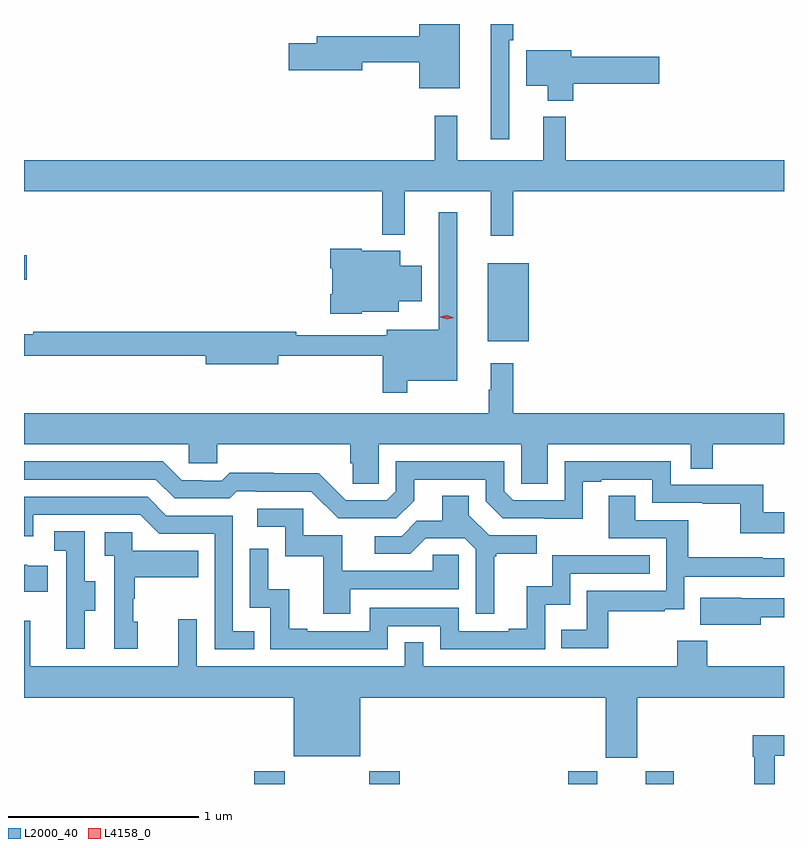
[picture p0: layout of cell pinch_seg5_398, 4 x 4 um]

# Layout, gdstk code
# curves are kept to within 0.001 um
import gdstk
lib = gdstk.Library(unit=1e-6, precision=1e-09)
def R(c, l, rs):  # rectangles x0, y0, x1, y1
    for r in rs: c.add(gdstk.rectangle(r[:2], r[2:], *l))
def P(c, l, *ps):  # polygons
    for p in ps: c.add(gdstk.Polygon(p, *l))
L2000_40 = (2000, 40)
L4158_0 = (4158, 0)

pinch_seg5_398 = lib.new_cell('pinch_seg5_398')
R(pinch_seg5_398, L2000_40, [(984.557,866.961,984.717,867.028), (985.162,866.961,985.322,867.028), (986.21,866.961,986.362,867.027), (986.618,866.961,986.766,867.027), (985.787,869.291,986.002,869.701), (983.345,869.615,983.359,869.745)])
P(pinch_seg5_398, L2000_40, [(985.639,870.961),(985.424,870.961),(985.424,870.896),(984.887,870.896),(984.887,870.86),(984.738,870.86),(984.738,870.718),(985.126,870.718),(985.126,870.76),(985.424,870.76),(985.424,870.623),(985.639,870.623)],
  [(985.899,870.875),(985.919,870.875),(985.919,870.961),(985.802,870.961),(985.802,870.354),(985.899,870.354)],
  [(986.237,870.646),(986.689,870.646),(986.689,870.788),(986.224,870.788),(986.224,870.823),(985.988,870.823),(985.988,870.635),(986.102,870.635),(986.102,870.557),(986.237,870.557)],
  [(987.345,870.244),(986.195,870.244),(986.195,870.472),(986.078,870.472),(986.078,870.244),(985.625,870.244),(985.625,870.478),(985.507,870.478),(985.507,870.244),(983.345,870.244),(983.345,870.08),(985.231,870.08),(985.231,869.852),(985.349,869.852),(985.349,870.08),(985.802,870.08),(985.802,869.847),(985.919,869.847),(985.919,870.08),(987.345,870.08)],
  [(985.363,869.084),(985.624,869.084),(985.624,869.971),(985.527,869.971),(985.527,869.353),(985.253,869.353),(985.253,869.322),(984.778,869.322),(984.778,869.342),(983.393,869.342),(983.393,869.327),(983.345,869.327),(983.345,869.214),(984.302,869.214),(984.302,869.171),(984.682,869.171),(984.682,869.214),(985.234,869.214),(985.234,869.019),(985.363,869.019)],
  [(985.122,869.447),(985.318,869.447),(985.318,869.501),(985.438,869.501),(985.438,869.689),(985.324,869.689),(985.324,869.767),(985.122,869.767),(985.122,869.779),(984.956,869.779),(984.956,869.675),(984.968,869.675),(984.968,869.539),(984.956,869.539),(984.956,869.435),(985.122,869.435)],
  [(985.212,868.748),(985.962,868.748),(985.962,868.54),(986.101,868.54),(986.101,868.748),(986.853,868.748),(986.853,868.621),(986.969,868.621),(986.969,868.748),(987.345,868.748),(987.345,868.912),(985.919,868.912),(985.919,869.176),(985.802,869.176),(985.802,869.036),(985.791,869.036),(985.791,868.912),(983.345,868.912),(983.345,868.748),(984.213,868.748),(984.213,868.65),(984.363,868.65),(984.363,868.748),(985.061,868.748),(985.061,868.65),(985.075,868.65),(985.075,868.54),(985.212,868.54)],
  [(987.345,868.39),(987.235,868.39),(987.235,868.536),(986.748,868.536),(986.748,868.659),(986.19,868.659),(986.19,868.455),(985.92,868.455),(985.872,868.503),(985.872,868.659),(985.302,868.659),(985.302,868.503),(985.254,868.455),(985.038,868.455),(984.896,868.597),(984.66,868.597),(984.66,868.6),(984.427,868.6),(984.385,868.557),(984.282,868.557),(984.282,868.56),(984.175,868.56),(984.076,868.659),(983.345,868.659),(983.345,868.563),(984.039,868.563),(984.138,868.464),(984.427,868.464),(984.466,868.503),(984.565,868.503),(984.565,868.5),(984.858,868.5),(984.999,868.359),(985.305,868.359),(985.399,868.453),(985.399,868.563),(985.776,868.563),(985.776,868.449),(985.866,868.359),(986.287,868.358),(986.287,868.551),(986.383,868.551),(986.383,868.563),(986.652,868.563),(986.652,868.44),(986.917,868.44),(986.917,868.435),(987.114,868.435),(987.114,868.28),(987.345,868.28)],
  [(986.419,867.87),(986.717,867.87),(986.717,867.881),(986.82,867.881),(986.82,868.053),(987.345,868.053),(987.345,868.149),(987.233,868.149),(987.233,868.154),(986.84,868.154),(986.84,868.35),(986.563,868.35),(986.563,868.478),(986.423,868.478),(986.423,868.254),(986.724,868.254),(986.724,867.978),(986.308,867.978),(986.308,867.772),(986.173,867.772),(986.173,867.675),(986.419,867.675)],
  [(985.819,868.161),(985.831,868.161),(985.831,868.172),(986.044,868.172),(986.044,868.269),(985.794,868.269),(985.687,868.376),(985.687,868.478),(985.547,868.478),(985.547,868.346),(985.412,868.346),(985.332,868.266),(985.191,868.266),(985.191,868.173),(985.378,868.173),(985.459,868.254),(985.665,868.254),(985.722,868.197),(985.722,867.858),(985.819,867.858)],
  [(984.557,867.765),(984.444,867.765),(984.444,868.374),(984.094,868.374),(983.995,868.473),(983.345,868.473),(983.345,868.265),(983.394,868.265),(983.394,868.377),(983.958,868.377),(984.057,868.278),(984.348,868.278),(984.348,867.669),(984.557,867.669)],
  [(985.063,867.987),(985.632,867.987),(985.632,868.167),(985.495,868.167),(985.495,868.083),(985.021,868.083),(985.021,868.269),(984.816,868.269),(984.816,868.41),(984.573,868.41),(984.573,868.314),(984.72,868.314),(984.72,868.161),(984.919,868.161),(984.919,867.858),(985.063,867.858)],
  [(983.665,867.874),(983.719,867.874),(983.719,868.029),(983.664,868.029),(983.664,868.292),(983.505,868.292),(983.505,868.189),(983.568,868.189),(983.568,867.885),(983.567,867.885),(983.567,867.672),(983.665,867.672)],
  [(983.944,867.816),(983.919,867.816),(983.919,867.935),(983.929,867.935),(983.929,868.049),(984.263,868.049),(984.263,868.189),(983.916,868.189),(983.916,868.287),(983.769,868.287),(983.769,868.163),(983.82,868.163),(983.82,867.672),(983.944,867.672)],
  [(985.26,867.792),(985.536,867.792),(985.536,867.669),(986.088,867.669),(986.088,867.905),(986.22,867.905),(986.22,868.068),(986.639,868.068),(986.639,868.164),(986.124,868.164),(986.124,868.003),(985.991,868.003),(985.991,867.778),(985.895,867.778),(985.895,867.765),(985.632,867.765),(985.632,867.888),(985.164,867.888),(985.164,867.765),(984.835,867.765),(984.835,867.778),(984.74,867.778),(984.74,867.986),(984.63,867.986),(984.63,868.198),(984.534,868.198),(984.534,867.888),(984.642,867.888),(984.642,867.669),(985.26,867.669)],
  [(983.471,868.111),(983.363,868.111),(983.363,868.114),(983.345,868.114),(983.345,867.974),(983.471,867.974)],
  [(987.223,867.838),(987.345,867.838),(987.345,867.939),(987.119,867.939),(987.119,867.94),(986.905,867.94),(986.905,867.8),(987.223,867.8)],
  [(986.572,867.416),(987.345,867.416),(987.345,867.58),(986.942,867.58),(986.942,867.715),(986.782,867.715),(986.782,867.58),(985.446,867.58),(985.446,867.707),(985.35,867.707),(985.35,867.58),(984.255,867.58),(984.255,867.829),(984.158,867.829),(984.158,867.58),(983.377,867.58),(983.377,867.82),(983.345,867.82),(983.345,867.416),(984.764,867.416),(984.764,867.107),(985.114,867.107),(985.114,867.416),(986.408,867.416),(986.408,867.099),(986.572,867.099)],
  [(987.297,867.111),(987.345,867.111),(987.345,867.217),(987.181,867.217),(987.181,867.104),(987.189,867.104),(987.189,866.961),(987.297,866.961)])
P(pinch_seg5_398, L4158_0, [(985.572,869.407),(985.537,869.418),(985.537,869.418),(985.537,869.419),(985.573,869.427),(985.608,869.415),(985.608,869.415),(985.608,869.415)])

lib.write_gds('pinch_seg5_398.gds')
